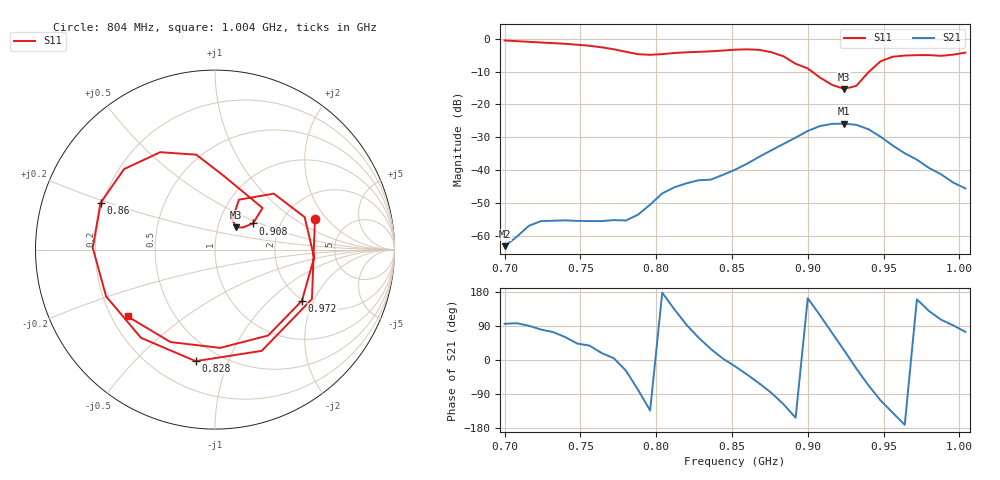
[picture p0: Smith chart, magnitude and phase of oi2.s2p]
# Hz S RI R 50
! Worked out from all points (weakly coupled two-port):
!   39 points, 700 MHz to 1.004 GHz, reference 50 ohm
!   highest |S21| = -25.89 dB at 924 MHz (marker M1); lowest = -63.2 dB at 700 MHz (marker M2)
!   lowest |S11| = -15.3 dB at 924 MHz (marker M3), VSWR 1.42, Z = 61.2 + j15.7 ohm
!   |S11| at or under -10 dB: 902.7 MHz to 940.5 MHz (37.81 MHz wide, 4.1 % of centre)
!   S12 and S22 are empty: the file has one direction only
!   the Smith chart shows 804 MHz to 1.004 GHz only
!   S11 on the Smith chart (normalised r, x): 804 MHz: 2.93, +1.51; 828 MHz: 0.37, -0.77; 860 MHz: 0.19, +0.19; 908 MHz: 1.45, +0.45; 972 MHz: 1.97, -1.64; 1.004 GHz: 0.27, -0.32
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7e8  0.7599 0.5548  -6.59e-05 0.000687  0 0  0 0
7.24e8  0.8423 -0.2409  0.000276 0.00164  0 0  0 0
7.4e8  0.4595 -0.6992  0.000843 0.00148  0 0  0 0
7.56e8  -0.1895 -0.758  0.00131 0.00103  0 0  0 0
7.72e8  -0.6599 -0.2032  0.00172 0.000143  0 0  0 0
7.8e8  -0.5938 0.2172  0.0015 -0.000796  0 0  0 0
7.88e8  -0.2478 0.5259  0.000418 -0.00204  0 0  0 0
7.96e8  0.2364 0.5173  -0.00203 -0.00216  0 0  0 0
8.04e8  0.5569 0.1708  -0.00439 0.000185  0 0  0 0
8.2e8  0.2603 -0.5641  -0.000308 0.00625  0 0  0 0
8.28e8  -0.108 -0.6216  0.0036 0.00596  0 0  0 0
8.52e8  -0.681 0.00939  0.00965 -0.00287  0 0  0 0
8.6e8  -0.6376 0.2607  0.00977 -0.00776  0 0  0 0
8.84e8  -0.1046 0.5288  -0.0112 -0.0223  0 0  0 0
9e8  0.265 0.2318  -0.0376 0.0114  0 0  0 0
9.08e8  0.2114 0.1455  -0.0221 0.041  0 0  0 0
9.24e8  0.1186 0.1248  0.0458 0.0219  0 0  0 0
9.4e8  0.1332 0.2781  0.0165 -0.0384  0 0  0 0
9.56e8  0.4996 0.181  -0.0178 -0.0155  0 0  0 0
9.72e8  0.4842 -0.2851  -0.0135 0.0049  0 0  0 0
9.88e8  0.029 -0.5476  -0.00239 0.00823  0 0  0 0
1.004e9  -0.4871 -0.3723  0.00142 0.00504  0 0  0 0
